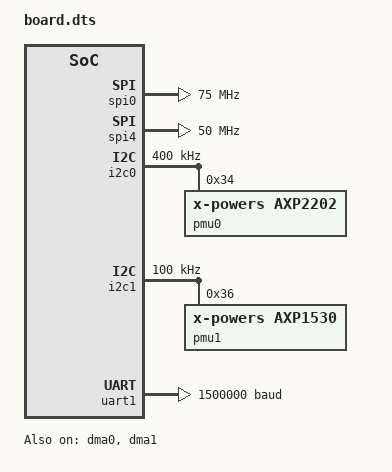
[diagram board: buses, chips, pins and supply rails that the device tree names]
/dts-v1/;

#include <dt-bindings/gpio/sunxi-gpio.h>

/ {
	#address-cells = <1>;
	#size-cells = <1>;

	aliases {
		dma0 = &dma0;
		dma1 = &dma1;
		i2c0 = &i2c0;
		i2c1 = &i2c1;
		pmu0 = &pmu0;
		pmu1 = &pmu1;
		spi0 = &spi0;
		spi4 = &spi4;
	};

	chosen {
		stdout-path = &uart1;
	};

	pinctrl {
		spi0_pins: spi0-pins {
			allwinner,pins =
				<SUNXI_GPIO_PORT_C 1 4>,
				<SUNXI_GPIO_PORT_C 0 4>,
				<SUNXI_GPIO_PORT_C 2 4>,
				<SUNXI_GPIO_PORT_C 3 4>,
				<SUNXI_GPIO_PORT_C 4 4>,
				<SUNXI_GPIO_PORT_C 5 4>;
		};

		spi4_pins: spi4-pins {
			allwinner,pins =
				<SUNXI_GPIO_PORT_D 1 5>,
				<SUNXI_GPIO_PORT_D 0 5>,
				<SUNXI_GPIO_PORT_D 2 5>,
				<SUNXI_GPIO_PORT_D 3 5>,
				<SUNXI_GPIO_PORT_D 4 5>,
				<SUNXI_GPIO_PORT_D 5 5>;
		};

		i2c0_pins: i2c0-pins {
			allwinner,pins =
				<SUNXI_GPIO_PORT_L 0 2>,
				<SUNXI_GPIO_PORT_L 1 2>;
		};

		i2c1_pins: i2c1-pins {
			allwinner,pins =
				<SUNXI_GPIO_PORT_B 4 3>,
				<SUNXI_GPIO_PORT_B 5 3>;
		};

		uart0_pins: uart0-pins {
			allwinner,pins =
				<SUNXI_GPIO_PORT_B 8 6>,
				<SUNXI_GPIO_PORT_B 9 6>;
		};

		uart1_pins: uart1-pins {
			allwinner,pins =
				<SUNXI_GPIO_PORT_H 13 5>,
				<SUNXI_GPIO_PORT_H 14 5>;
		};
	};

	disabled-bus {
		#address-cells = <1>;
		#size-cells = <1>;
		status = "disabled";

		uart0: serial@1000 {
			compatible = "allwinner,sunxi-uart";
			reg = <0x1000 0x400>;
			current-speed = <115200>;
			clock-frequency = <24000000>;
			allwinner,uart-id = <0>;
			allwinner,clock-gate = <0x2000 0>;
			allwinner,reset = <0x2000 16>;
			pinctrl-names = "default";
			pinctrl-0 = <&uart0_pins>;
			status = "okay";
		};
	};

	soc {
		#address-cells = <1>;
		#size-cells = <1>;
		ranges;

		dma0: dma-controller@7000 {
			compatible = "allwinner,sunxi-dma";
			reg = <0x7000 0x1000>;
			#dma-cells = <1>;
			allwinner,mbus-clock-gate = <0x8000 2>;
			allwinner,clock-gate = <0x8100 3>;
			allwinner,reset = <0x8200 19>;
			status = "okay";
		};

		dma1: dma-controller@9000 {
			compatible = "allwinner,sunxi-dma";
			reg = <0x9000 0x1000>;
			#dma-cells = <1>;
			allwinner,mbus-clock-gate = <0xa000 4>;
			allwinner,clock-gate = <0xa100 5>;
			allwinner,reset = <0xa200 21>;
			status = "okay";
		};

		spi0: spi@b000 {
			compatible = "allwinner,sunxi-spi";
			allwinner,spi-id = <0>;
			reg = <0xb000 0x1000>;
			clock-frequency = <75000000>;
			allwinner,module-clock = <0xc000 1 8 300000000 0>;
			allwinner,clock-gate = <0xc100 6>;
			allwinner,reset = <0xc200 22>;
			dmas = <&dma1 27>;
			dma-names = "rx";
			pinctrl-names = "default";
			pinctrl-0 = <&spi0_pins>;
			status = "okay";
		};

		spi4: spi@d000 {
			compatible = "allwinner,sunxi-spi";
			allwinner,spi-id = <4>;
			reg = <0xd000 0x1000>;
			clock-frequency = <50000000>;
			allwinner,module-clock = <0xe000 2 16 200000000 1>;
			allwinner,clock-gate = <0xe100 7>;
			allwinner,reset = <0xe200 23>;
			dmas = <&dma0 31>;
			dma-names = "rx";
			pinctrl-names = "default";
			pinctrl-0 = <&spi4_pins>;
			status = "okay";
		};

		i2c0: i2c@3000 {
			compatible = "allwinner,sunxi-i2c";
			#address-cells = <1>;
			#size-cells = <0>;
			reg = <0x3000 0x400>;
			clock-frequency = <400000>;
			allwinner,i2c-id = <6>;
			allwinner,parent-clock-frequency = <24000000>;
			allwinner,clock-gate = <0x4000 0>;
			allwinner,reset = <0x4000 16>;
			pinctrl-names = "default";
			pinctrl-0 = <&i2c0_pins>;
			status = "okay";

			pmu0: pmic@34 {
				compatible = "x-powers,axp2202";
				reg = <0x34>, <0x35>;
				status = "okay";
			};
		};

		i2c1: i2c@5000 {
			compatible = "allwinner,sunxi-i2c";
			#address-cells = <1>;
			#size-cells = <0>;
			reg = <0x5000 0x400>;
			clock-frequency = <100000>;
			allwinner,i2c-id = <1>;
			allwinner,parent-clock-frequency = <24000000>;
			allwinner,clock-gate = <0x6000 1>;
			allwinner,reset = <0x6000 17>;
			pinctrl-names = "default";
			pinctrl-0 = <&i2c1_pins>;
			status = "okay";

			pmu1: pmic@36 {
				compatible = "x-powers,axp1530";
				reg = <0x36>;
				status = "okay";
			};
		};

		uart1: serial@2000 {
			compatible = "allwinner,sunxi-uart";
			reg = <0x2000 0x400>;
			current-speed = <1500000>;
			clock-frequency = <24000000>;
			allwinner,uart-id = <1>;
			allwinner,clock-gate = <0x3000 1>;
			allwinner,reset = <0x3000 17>;
			pinctrl-names = "default";
			pinctrl-0 = <&uart1_pins>;
			data-bits = <7>;
			stop-bits = <2>;
			parity = "even";
			status = "okay";
		};
	};
};
